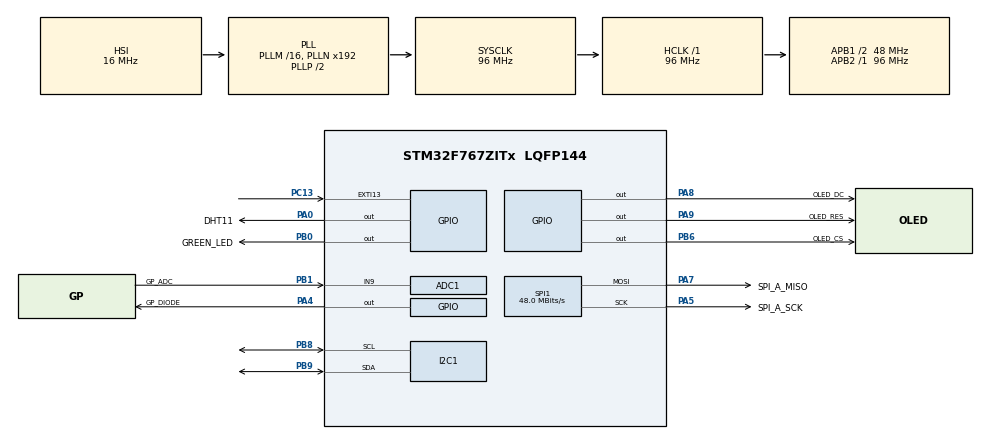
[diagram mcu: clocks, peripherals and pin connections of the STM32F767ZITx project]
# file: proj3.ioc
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ADC1.Channel-7\#ChannelRegularConversion=ADC_CHANNEL_9
ADC1.NbrOfConversionFlag=1
ADC1.Rank-7\#ChannelRegularConversion=1
ADC1.SamplingTime-7\#ChannelRegularConversion=ADC_SAMPLETIME_3CYCLES
ADC1.master=1
CORTEX_M7.default_mode_Activation=1
I2C1.Timing=0x20303E5D
Mcu.Family=STM32F7
Mcu.Name=STM32F767ZITx
Mcu.Package=LQFP144
NVIC.EXTI15_10_IRQn=true\:0\:0\:false\:false\:true\:true\:true\:true
NVIC.PriorityGroup=NVIC_PRIORITYGROUP_4
NVIC.TIM2_IRQn=true\:0\:0\:false\:false\:true\:true\:true\:true
PA0/WKUP.GPIO_Label=DHT11
PA0/WKUP.Signal=GPIO_Output
PA4.GPIO_Label=GP_DIODE
PA4.Signal=GPIO_Output
PA5.GPIO_Label=SPI_A_SCK
PA5.Mode=TX_Only_Simplex_Unidirect_Master
PA5.Signal=SPI1_SCK
PA7.GPIO_Label=SPI_A_MISO
PA7.Mode=TX_Only_Simplex_Unidirect_Master
PA7.Signal=SPI1_MOSI
PA8.GPIO_Label=OLED_DC
PA8.Signal=GPIO_Output
PA9.GPIO_Label=OLED_RES
PA9.Signal=GPIO_Output
PB0.GPIO_Label=GREEN_LED
PB0.Signal=GPIO_Output
PB1.GPIO_Label=GP_ADC
PB1.Signal=ADCx_IN9
PB6.GPIO_Label=OLED_CS
PB6.Signal=GPIO_Output
PB8.Mode=I2C
PB8.Signal=I2C1_SCL
PB9.Mode=I2C
PB9.Signal=I2C1_SDA
PC13.Signal=GPXTI13
ProjectManager.HeapSize=0x200
ProjectManager.StackSize=0x400
ProjectManager.TargetToolchain=STM32CubeIDE
RCC.AHBFreq_Value=96000000
RCC.APB1CLKDivider=RCC_HCLK_DIV2
RCC.APB1Freq_Value=48000000
RCC.APB1TimFreq_Value=96000000
RCC.APB2Freq_Value=96000000
RCC.APB2TimFreq_Value=96000000
RCC.CortexFreq_Value=96000000
RCC.HCLKFreq_Value=96000000
RCC.HSE_VALUE=25000000
RCC.HSI_VALUE=16000000
RCC.LSE_VALUE=32768
RCC.SYSCLKFreq_VALUE=96000000
RCC.SYSCLKSource=RCC_SYSCLKSOURCE_PLLCLK
RCC.USBFreq_Value=96000000
RCC.VCOOutputFreq_Value=192000000
SH.ADCx_IN9.0=ADC1_IN9,IN9
SPI1.CalculateBaudRate=48.0 MBits/s
SPI1.DataSize=SPI_DATASIZE_8BIT
SPI1.Direction=SPI_DIRECTION_2LINES
SPI1.Mode=SPI_MODE_MASTER
SPI1.VirtualType=VM_MASTER
TIM1.Prescaler=96-1
TIM2.Period=100000-1
TIM2.Prescaler=9600-1
VP_TIM1_VS_ClockSourceINT.Mode=Internal
VP_TIM2_VS_ClockSourceINT.Mode=Internal
board=custom

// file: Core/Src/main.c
/* USER CODE BEGIN Header */
/**
  ******************************************************************************
  * @file           : main.c
  * @brief          : Main program body
  ******************************************************************************
  * @attention
  *
  * Copyright (c) 2025 STMicroelectronics.
  * All rights reserved.
  *
  * This software is licensed under terms that can be found in the LICENSE file
  * in the root directory of this software component.
  * If no LICENSE file comes with this software, it is provided AS-IS.
  *
  ******************************************************************************
  */
/* USER CODE END Header */
#include "main.h"

/* USER CODE BEGIN Includes */
#include "dht11.h"
#include "oled.h"
#include "bmp280.h"
#include "dust_sensor.h"
/* USER CODE END Includes */

ADC_HandleTypeDef hadc1;

I2C_HandleTypeDef hi2c1;

SPI_HandleTypeDef hspi1;

TIM_HandleTypeDef htim1;
TIM_HandleTypeDef htim2;

/* USER CODE BEGIN PV */
extern volatile uint8_t update_flag; //flag
float tem = 0;
float hum = 0;
float psi = 0;
float psi_w = 0;
float tempBMP = 0;
float dustVoltage = 0;
float dustDensity = 0;

#define WYSOKOSC 220
/* USER CODE END PV */

void SystemClock_Config(void);
static void MPU_Config(void);
static void MX_GPIO_Init(void);
static void MX_SPI1_Init(void);
static void MX_TIM1_Init(void);
static void MX_I2C1_Init(void);
static void MX_ADC1_Init(void);
static void MX_TIM2_Init(void);
/* USER CODE BEGIN PFP */
void updateData()
{
	HAL_GPIO_TogglePin(GREEN_LED_GPIO_Port, GREEN_LED_Pin);
	DHT11_Read_Data();
	hum = (float)DHT11_Data[0] + ((float)DHT11_Data[1] / 10.0f);
	tem = (float)DHT11_Data[2] + ((float)DHT11_Data[3] / 10.0f);
	void BMP_StartMeasurement(void);

	tempBMP = BMP_ReadTemperature();
	psi = BMP_ReadPressure();
	psi_w = pressure_to_sealevel(psi, WYSOKOSC,tem);

	dustVoltage = ReadDustSensor();
	dustDensity = VoltageToDustDensity(dustVoltage);

	OLED_temp();
	OLED_pressure_Pa(psi_w, 0);
	OLED_pressure_Pa(psi, 64);
	OLED_dust();

	HAL_GPIO_TogglePin(GREEN_LED_GPIO_Port, GREEN_LED_Pin);
}
void init()
{
	OLED_Init();
	OLED_Clear();
	BMP_Init();
	for(int i=0; i<5; i++)
	   DHT11_Data[i]=0;
	HAL_GPIO_WritePin(GPIOB, GREEN_LED_Pin, GPIO_PIN_SET);
	HAL_Delay(2000); //dwie sekundy na rozruch
	updateData();
}

/* USER CODE END PFP */

int main(void)
{

  /* MPU Configuration--------------------------------------------------------*/
  MPU_Config();

  /* MCU Configuration--------------------------------------------------------*/

  /* Reset of all peripherals, Initializes the Flash interface and the Systick. */
  HAL_Init();

  /* Configure the system clock */
  SystemClock_Config();

  /* Initialize all configured peripherals */
  MX_GPIO_Init();
  MX_SPI1_Init();
  MX_TIM1_Init();
  MX_I2C1_Init();
  MX_ADC1_Init();
  MX_TIM2_Init();
  /* USER CODE BEGIN 2 */
  HAL_TIM_Base_Start(&htim1);
  HAL_TIM_Base_Start_IT(&htim2);
  init();
  /* USER CODE END 2 */

  /* Infinite loop */
  while (1)
  {

    /* USER CODE BEGIN 3 */
	  if (update_flag)
	  {
	  	update_flag = 0;
	    updateData();
	  }
  }
  /* USER CODE END 3 */
}

void SystemClock_Config(void)
{
  RCC_OscInitTypeDef RCC_OscInitStruct = {0};
  RCC_ClkInitTypeDef RCC_ClkInitStruct = {0};

  /** Configure the main internal regulator output voltage
  */
  __HAL_RCC_PWR_CLK_ENABLE();
  __HAL_PWR_VOLTAGESCALING_CONFIG(PWR_REGULATOR_VOLTAGE_SCALE3);

  /** Initializes the RCC Oscillators according to the specified parameters
  * in the RCC_OscInitTypeDef structure.
  */
  RCC_OscInitStruct.OscillatorType = RCC_OSCILLATORTYPE_HSI;
  RCC_OscInitStruct.HSIState = RCC_HSI_ON;
  RCC_OscInitStruct.HSICalibrationValue = RCC_HSICALIBRATION_DEFAULT;
  RCC_OscInitStruct.PLL.PLLState = RCC_PLL_ON;
  RCC_OscInitStruct.PLL.PLLSource = RCC_PLLSOURCE_HSI;
  RCC_OscInitStruct.PLL.PLLM = 16;
  RCC_OscInitStruct.PLL.PLLN = 192;
  RCC_OscInitStruct.PLL.PLLP = RCC_PLLP_DIV2;
  RCC_OscInitStruct.PLL.PLLQ = 2;
  RCC_OscInitStruct.PLL.PLLR = 2;
  if (HAL_RCC_OscConfig(&RCC_OscInitStruct) != HAL_OK)
  {
    Error_Handler();
  }

  /** Activate the Over-Drive mode
  */
  if (HAL_PWREx_EnableOverDrive() != HAL_OK)
  {
    Error_Handler();
  }

  /** Initializes the CPU, AHB and APB buses clocks
  */
  RCC_ClkInitStruct.ClockType = RCC_CLOCKTYPE_HCLK|RCC_CLOCKTYPE_SYSCLK
                              |RCC_CLOCKTYPE_PCLK1|RCC_CLOCKTYPE_PCLK2;
  RCC_ClkInitStruct.SYSCLKSource = RCC_SYSCLKSOURCE_PLLCLK;
  RCC_ClkInitStruct.AHBCLKDivider = RCC_SYSCLK_DIV1;
  RCC_ClkInitStruct.APB1CLKDivider = RCC_HCLK_DIV2;
  RCC_ClkInitStruct.APB2CLKDivider = RCC_HCLK_DIV1;

  if (HAL_RCC_ClockConfig(&RCC_ClkInitStruct, FLASH_LATENCY_3) != HAL_OK)
  {
    Error_Handler();
  }
}

static void MX_ADC1_Init(void)
{

  ADC_ChannelConfTypeDef sConfig = {0};

  /** Configure the global features of the ADC (Clock, Resolution, Data Alignment and number of conversion)
  */
  hadc1.Instance = ADC1;
  hadc1.Init.ClockPrescaler = ADC_CLOCK_SYNC_PCLK_DIV4;
  hadc1.Init.Resolution = ADC_RESOLUTION_12B;
  hadc1.Init.ScanConvMode = ADC_SCAN_DISABLE;
  hadc1.Init.ContinuousConvMode = DISABLE;
  hadc1.Init.DiscontinuousConvMode = DISABLE;
  hadc1.Init.ExternalTrigConvEdge = ADC_EXTERNALTRIGCONVEDGE_NONE;
  hadc1.Init.ExternalTrigConv = ADC_SOFTWARE_START;
  hadc1.Init.DataAlign = ADC_DATAALIGN_RIGHT;
  hadc1.Init.NbrOfConversion = 1;
  hadc1.Init.DMAContinuousRequests = DISABLE;
  hadc1.Init.EOCSelection = ADC_EOC_SINGLE_CONV;
  if (HAL_ADC_Init(&hadc1) != HAL_OK)
  {
    Error_Handler();
  }

  /** Configure for the selected ADC regular channel its corresponding rank in the sequencer and its sample time.
  */
  sConfig.Channel = ADC_CHANNEL_9;
  sConfig.Rank = ADC_REGULAR_RANK_1;
  sConfig.SamplingTime = ADC_SAMPLETIME_3CYCLES;
  if (HAL_ADC_ConfigChannel(&hadc1, &sConfig) != HAL_OK)
  {
    Error_Handler();
  }

}

static void MX_I2C1_Init(void)
{

  hi2c1.Instance = I2C1;
  hi2c1.Init.Timing = 0x20303E5D;
  hi2c1.Init.OwnAddress1 = 0;
  hi2c1.Init.AddressingMode = I2C_ADDRESSINGMODE_7BIT;
  hi2c1.Init.DualAddressMode = I2C_DUALADDRESS_DISABLE;
  hi2c1.Init.OwnAddress2 = 0;
  hi2c1.Init.OwnAddress2Masks = I2C_OA2_NOMASK;
  hi2c1.Init.GeneralCallMode = I2C_GENERALCALL_DISABLE;
  hi2c1.Init.NoStretchMode = I2C_NOSTRETCH_DISABLE;
  if (HAL_I2C_Init(&hi2c1) != HAL_OK)
  {
    Error_Handler();
  }

  /** Configure Analogue filter
  */
  if (HAL_I2CEx_ConfigAnalogFilter(&hi2c1, I2C_ANALOGFILTER_ENABLE) != HAL_OK)
  {
    Error_Handler();
  }

  /** Configure Digital filter
  */
  if (HAL_I2CEx_ConfigDigitalFilter(&hi2c1, 0) != HAL_OK)
  {
    Error_Handler();
  }

}

static void MX_SPI1_Init(void)
{

  /* SPI1 parameter configuration*/
  hspi1.Instance = SPI1;
  hspi1.Init.Mode = SPI_MODE_MASTER;
  hspi1.Init.Direction = SPI_DIRECTION_2LINES;
  hspi1.Init.DataSize = SPI_DATASIZE_8BIT;
  hspi1.Init.CLKPolarity = SPI_POLARITY_LOW;
  hspi1.Init.CLKPhase = SPI_PHASE_1EDGE;
  hspi1.Init.NSS = SPI_NSS_SOFT;
  hspi1.Init.BaudRatePrescaler = SPI_BAUDRATEPRESCALER_2;
  hspi1.Init.FirstBit = SPI_FIRSTBIT_MSB;
  hspi1.Init.TIMode = SPI_TIMODE_DISABLE;
  hspi1.Init.CRCCalculation = SPI_CRCCALCULATION_DISABLE;
  hspi1.Init.CRCPolynomial = 7;
  hspi1.Init.CRCLength = SPI_CRC_LENGTH_DATASIZE;
  hspi1.Init.NSSPMode = SPI_NSS_PULSE_ENABLE;
  if (HAL_SPI_Init(&hspi1) != HAL_OK)
  {
    Error_Handler();
  }

}

static void MX_TIM1_Init(void)
{

  TIM_ClockConfigTypeDef sClockSourceConfig = {0};
  TIM_MasterConfigTypeDef sMasterConfig = {0};

  htim1.Instance = TIM1;
  htim1.Init.Prescaler = 96-1;
  htim1.Init.CounterMode = TIM_COUNTERMODE_UP;
  htim1.Init.Period = 65535;
  htim1.Init.ClockDivision = TIM_CLOCKDIVISION_DIV1;
  htim1.Init.RepetitionCounter = 0;
  htim1.Init.AutoReloadPreload = TIM_AUTORELOAD_PRELOAD_DISABLE;
  if (HAL_TIM_Base_Init(&htim1) != HAL_OK)
  {
    Error_Handler();
  }
  sClockSourceConfig.ClockSource = TIM_CLOCKSOURCE_INTERNAL;
  if (HAL_TIM_ConfigClockSource(&htim1, &sClockSourceConfig) != HAL_OK)
  {
    Error_Handler();
  }
  sMasterConfig.MasterOutputTrigger = TIM_TRGO_RESET;
  sMasterConfig.MasterOutputTrigger2 = TIM_TRGO2_RESET;
  sMasterConfig.MasterSlaveMode = TIM_MASTERSLAVEMODE_DISABLE;
  if (HAL_TIMEx_MasterConfigSynchronization(&htim1, &sMasterConfig) != HAL_OK)
  {
    Error_Handler();
  }

}

static void MX_TIM2_Init(void)
{

  TIM_ClockConfigTypeDef sClockSourceConfig = {0};
  TIM_MasterConfigTypeDef sMasterConfig = {0};

  htim2.Instance = TIM2;
  htim2.Init.Prescaler = 9600-1;
  htim2.Init.CounterMode = TIM_COUNTERMODE_UP;
  htim2.Init.Period = 100000-1;
  htim2.Init.ClockDivision = TIM_CLOCKDIVISION_DIV1;
  htim2.Init.AutoReloadPreload = TIM_AUTORELOAD_PRELOAD_DISABLE;
  if (HAL_TIM_Base_Init(&htim2) != HAL_OK)
  {
    Error_Handler();
  }
  sClockSourceConfig.ClockSource = TIM_CLOCKSOURCE_INTERNAL;
  if (HAL_TIM_ConfigClockSource(&htim2, &sClockSourceConfig) != HAL_OK)
  {
    Error_Handler();
  }
  sMasterConfig.MasterOutputTrigger = TIM_TRGO_RESET;
  sMasterConfig.MasterSlaveMode = TIM_MASTERSLAVEMODE_DISABLE;
  if (HAL_TIMEx_MasterConfigSynchronization(&htim2, &sMasterConfig) != HAL_OK)
  {
    Error_Handler();
  }

}

static void MX_GPIO_Init(void)
{
  GPIO_InitTypeDef GPIO_InitStruct = {0};

  /* GPIO Ports Clock Enable */
  __HAL_RCC_GPIOC_CLK_ENABLE();
  __HAL_RCC_GPIOA_CLK_ENABLE();
  __HAL_RCC_GPIOB_CLK_ENABLE();

  /*Configure GPIO pin Output Level */
  HAL_GPIO_WritePin(GPIOA, DHT11_Pin|GP_DIODE_Pin|OLED_DC_Pin|OLED_RES_Pin, GPIO_PIN_RESET);

  /*Configure GPIO pin Output Level */
  HAL_GPIO_WritePin(GPIOB, GREEN_LED_Pin|OLED_CS_Pin, GPIO_PIN_RESET);

  /*Configure GPIO pin : PC13 */
  GPIO_InitStruct.Pin = GPIO_PIN_13;
  GPIO_InitStruct.Mode = GPIO_MODE_IT_RISING;
  GPIO_InitStruct.Pull = GPIO_NOPULL;
  HAL_GPIO_Init(GPIOC, &GPIO_InitStruct);

  /*Configure GPIO pins : DHT11_Pin GP_DIODE_Pin OLED_DC_Pin OLED_RES_Pin */
  GPIO_InitStruct.Pin = DHT11_Pin|GP_DIODE_Pin|OLED_DC_Pin|OLED_RES_Pin;
  GPIO_InitStruct.Mode = GPIO_MODE_OUTPUT_PP;
  GPIO_InitStruct.Pull = GPIO_NOPULL;
  GPIO_InitStruct.Speed = GPIO_SPEED_FREQ_LOW;
  HAL_GPIO_Init(GPIOA, &GPIO_InitStruct);

  /*Configure GPIO pins : GREEN_LED_Pin OLED_CS_Pin */
  GPIO_InitStruct.Pin = GREEN_LED_Pin|OLED_CS_Pin;
  GPIO_InitStruct.Mode = GPIO_MODE_OUTPUT_PP;
  GPIO_InitStruct.Pull = GPIO_NOPULL;
  GPIO_InitStruct.Speed = GPIO_SPEED_FREQ_LOW;
  HAL_GPIO_Init(GPIOB, &GPIO_InitStruct);

  /* EXTI interrupt init*/
  HAL_NVIC_SetPriority(EXTI15_10_IRQn, 0, 0);
  HAL_NVIC_EnableIRQ(EXTI15_10_IRQn);

}

 /* MPU Configuration */

void MPU_Config(void)
{
  MPU_Region_InitTypeDef MPU_InitStruct = {0};

  /* Disables the MPU */
  HAL_MPU_Disable();

  /** Initializes and configures the Region and the memory to be protected
  */
  MPU_InitStruct.Enable = MPU_REGION_ENABLE;
  MPU_InitStruct.Number = MPU_REGION_NUMBER0;
  MPU_InitStruct.BaseAddress = 0x0;
  MPU_InitStruct.Size = MPU_REGION_SIZE_4GB;
  MPU_InitStruct.SubRegionDisable = 0x87;
  MPU_InitStruct.TypeExtField = MPU_TEX_LEVEL0;
  MPU_InitStruct.AccessPermission = MPU_REGION_NO_ACCESS;
  MPU_InitStruct.DisableExec = MPU_INSTRUCTION_ACCESS_DISABLE;
  MPU_InitStruct.IsShareable = MPU_ACCESS_SHAREABLE;
  MPU_InitStruct.IsCacheable = MPU_ACCESS_NOT_CACHEABLE;
  MPU_InitStruct.IsBufferable = MPU_ACCESS_NOT_BUFFERABLE;

  HAL_MPU_ConfigRegion(&MPU_InitStruct);
  /* Enables the MPU */
  HAL_MPU_Enable(MPU_PRIVILEGED_DEFAULT);

}

void Error_Handler(void)
{
  __disable_irq();
  while (1)
  {
  }
}
